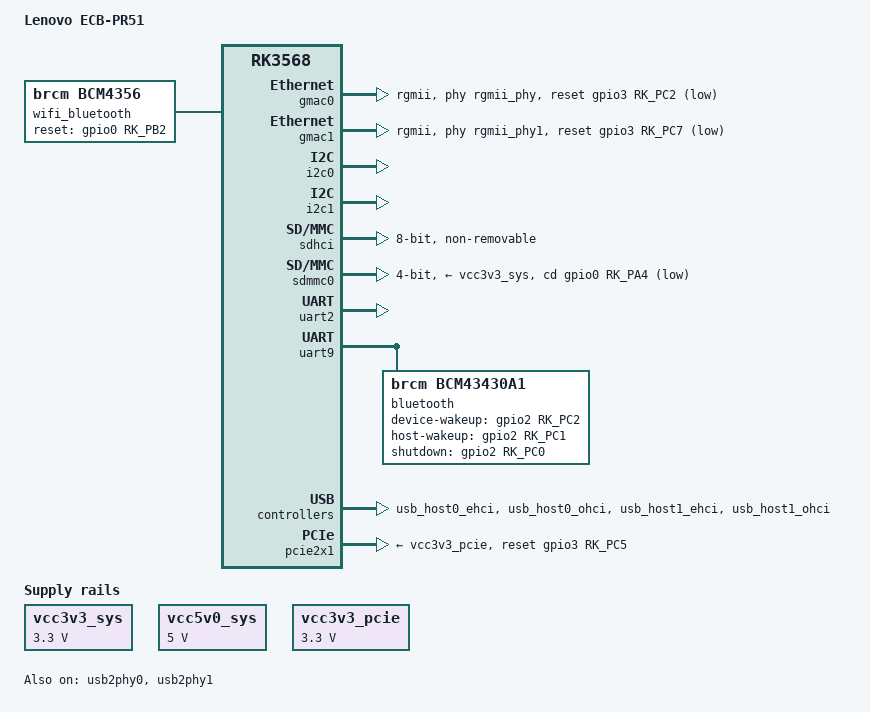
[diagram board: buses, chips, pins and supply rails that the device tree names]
// SPDX-License-Identifier: (GPL-2.0+ OR MIT)
/*
 * Device tree source for Lenovo ECB-PR51 (RK3568)
 * Based on rockchip,rk3568-evb1-ddr4-v10
 * Adapted for 6.12.y kernel
 */

/dts-v1/;
#include <dt-bindings/gpio/gpio.h>
#include <dt-bindings/pinctrl/rockchip.h>
#include <dt-bindings/soc/rockchip,vop2.h>
#include "rk3568.dtsi"

/ {
    model = "Lenovo ECB-PR51";
    compatible = "rockchip,rk3568-evb1-ddr4-v10", "rockchip,rk3568";

    chosen {
        stdout-path = "serial2:1500000n8";
    };

    vcc3v3_sys: vcc3v3-sys {
        compatible = "regulator-fixed";
        regulator-name = "vcc3v3_sys";
        regulator-always-on;
        regulator-boot-on;
        regulator-min-microvolt = <3300000>;
        regulator-max-microvolt = <3300000>;
    };

    vcc5v0_sys: vcc5v0-sys {
        compatible = "regulator-fixed";
        regulator-name = "vcc5v0_sys";
        regulator-always-on;
        regulator-boot-on;
        regulator-min-microvolt = <5000000>;
        regulator-max-microvolt = <5000000>;
    };

    vcc3v3_pcie: vcc3v3-pcie {
        compatible = "regulator-fixed";
        regulator-name = "vcc3v3_pcie";
        regulator-always-on;
        regulator-boot-on;
        regulator-min-microvolt = <3300000>;
        regulator-max-microvolt = <3300000>;
    };

    /* WiFi/BT: AP6256 (BCM4356) */
    wifi_bluetooth: wifi-bluetooth {
        compatible = "brcm,bcm4356";
        pinctrl-names = "default";
        pinctrl-0 = <&wifi_enable_h>;
        reset-gpios = <&gpio0 RK_PB2 GPIO_ACTIVE_HIGH>;
        /* WiFi SDIO interface */
        /* BT UART interface handled separately */
    };
};

&gmac0 {
    phy-mode = "rgmii";
    clock_in_out = "output";
    snps,reset-gpio = <&gpio3 RK_PC2 GPIO_ACTIVE_LOW>;
    snps,reset-active-low;
    snps,reset-delays-us = <0 10000 50000>;
    tx_delay = <0x28>;
    rx_delay = <0x11>;
    phy-handle = <&rgmii_phy>;
    status = "okay";
};

&gmac1 {
    phy-mode = "rgmii";
    clock_in_out = "output";
    snps,reset-gpio = <&gpio3 RK_PC7 GPIO_ACTIVE_LOW>;
    snps,reset-active-low;
    snps,reset-delays-us = <0 10000 50000>;
    tx_delay = <0x28>;
    rx_delay = <0x11>;
    phy-handle = <&rgmii_phy1>;
    status = "okay";
};

&i2c0 {
    status = "okay";
};

&i2c1 {
    status = "okay";
};

&sdhci {
    bus-width = <8>;
    max-frequency = <200000000>;
    non-removable;
    pinctrl-names = "default";
    pinctrl-0 = <&emmc_bus8 &emmc_cmd &emmc_clk>;
    status = "okay";
};

&sdmmc0 {
    bus-width = <4>;
    cap-sd-highspeed;
    cd-gpios = <&gpio0 RK_PA4 GPIO_ACTIVE_LOW>;
    disable-wp;
    pinctrl-names = "default";
    pinctrl-0 = <&sdmmc0_bus4 &sdmmc0_cmd &sdmmc0_clk>;
    vmmc-supply = <&vcc3v3_sys>;
    status = "okay";
};

&uart2 {
    status = "okay";
};

/* BT UART */
&uart9 {
    pinctrl-names = "default";
    pinctrl-0 = <&uart9m0_ctsn &uart9m0_rtsn &uart9m0>;
    status = "okay";

    bluetooth {
        compatible = "brcm,bcm43430a1";
        clocks = <&rk809 1>;
        clock-names = "ext_clock";
        device-wakeup-gpios = <&gpio2 RK_PC2 GPIO_ACTIVE_HIGH>;
        host-wakeup-gpios = <&gpio2 RK_PC1 GPIO_ACTIVE_HIGH>;
        shutdown-gpios = <&gpio2 RK_PC0 GPIO_ACTIVE_HIGH>;
    };
};

&usb_host0_ehci {
    status = "okay";
};

&usb_host0_ohci {
    status = "okay";
};

&usb_host1_ehci {
    status = "okay";
};

&usb_host1_ohci {
    status = "okay";
};

&usb2phy0 {
    status = "okay";
};

&usb2phy1 {
    status = "okay";
};

&pcie2x1 {
    reset-gpios = <&gpio3 RK_PC5 GPIO_ACTIVE_HIGH>;
    vpcie3v3-supply = <&vcc3v3_pcie>;
    status = "okay";
};

&pinctrl {
    wifi {
        wifi_enable_h: wifi-enable-h {
            rockchip,pins = <0 RK_PB2 RK_FUNC_GPIO &pcfg_pull_none>;
        };
    };
};
